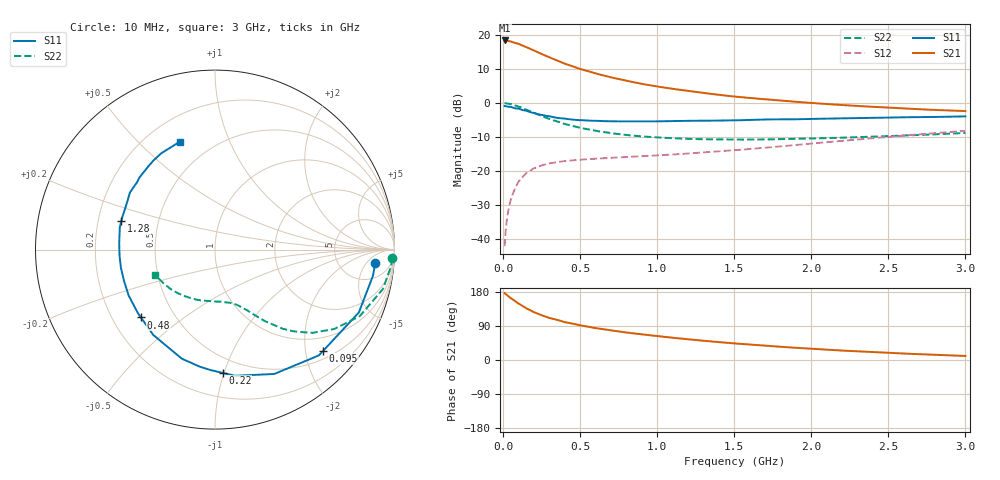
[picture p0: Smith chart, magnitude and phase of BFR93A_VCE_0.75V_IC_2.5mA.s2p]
! Infineon Technologies  Discrete & RF Semiconductors
! BFR93A
! VCE = 0.75 V,  IC =  2.5 mA
! Common Emitter S-Parameters:  Nov 2015
# GHz  S  MA  R  50
!  f  S11  S21  S12  S22
! GHz  MAG  ANG  MAG  ANG  MAG  ANG  MAG  ANG
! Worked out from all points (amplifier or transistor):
!   180 points, 10 MHz to 3 GHz, reference 50 ohm
!   highest |S21| = 18.4 dB at 10 MHz (marker M1)
!   |S21| within 3 dB of that: start of sweep to 202.9 MHz
!   unconditionally stable (mu >= 1): 874.6 MHz to end of sweep
!   at 160 MHz: K = 0.23, MSG = 18.3 dB, |S12| = -20.4 dB
!   at 1.22 GHz: K = 1.17, MAG = 6.6 dB, |S12| = -14.8 dB
!   at 3 GHz: K = 1.06, MAG = 1.4 dB, |S12| = -8.2 dB
!   S11 on the Smith chart (normalised r, x): 10 MHz: 11, -9; 95 MHz: 0.67, -2.36; 220 MHz: 0.38, -0.99; 480 MHz: 0.32, -0.35; 1.28 GHz: 0.30, +0.14; 3 GHz: 0.33, +0.67
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0.01  0.8967 -4.9  8.275 176.5  0.0078 88.0  0.9894 -2.8
0.025  0.8853 -11.8  8.199 171.5  0.0192 81.4  0.9804 -6.6
0.05  0.8747 -23.6  8.021 163.2  0.0376 76.7  0.961 -13.2
0.095  0.8254 -43.2  7.437 150.5  0.0661 65.9  0.8932 -23.5
0.1  0.8262 -45.5  7.397 149.0  0.0693 65.2  0.8876 -24.7
0.15  0.7676 -64.5  6.625 136.4  0.0924 55.8  0.7977 -33.7
0.2  0.7116 -81.0  5.9 126.3  0.1089 49.1  0.7141 -40.5
0.22  0.6884 -86.4  5.619 123.1  0.1133 46.9  0.6834 -42.4
0.26  0.6577 -97.4  5.116 116.6  0.1219 43.0  0.6271 -46.4
0.3  0.6353 -106.9  4.671 111.0  0.1287 40.2  0.58 -49.5
0.4  0.5868 -125.9  3.773 99.9  0.1393 35.5  0.4888 -54.9
0.48  0.5597 -137.5  3.272 93.3  0.1446 33.4  0.441 -57.8
0.52  0.5526 -142.8  3.062 90.0  0.147 32.7  0.4208 -59.2
0.6  0.5449 -152.0  2.707 84.2  0.1511 31.9  0.3874 -61.7
0.7  0.5361 -161.3  2.371 78.0  0.1554 31.6  0.3583 -64.6
0.9  0.5329 -176.3  1.902 67.7  0.1637 32.8  0.321 -70.5
1.02  0.5347 176.4  1.713 62.2  0.1696 34.0  0.3085 -74.1
1.28  0.5459 163.0  1.418 51.6  0.1848 36.9  0.2921 -83.6
1.52  0.5539 153.0  1.227 43.2  0.2026 39.7  0.2884 -93.2
2.02  0.5825 135.7  0.989 29.3  0.2542 42.7  0.3 -114.1
2.52  0.6093 121.4  0.845 18.6  0.3195 41.2  0.3257 -135.5
3  0.6326 108.1  0.757 10.6  0.3875 36.6  0.3613 -156.6
